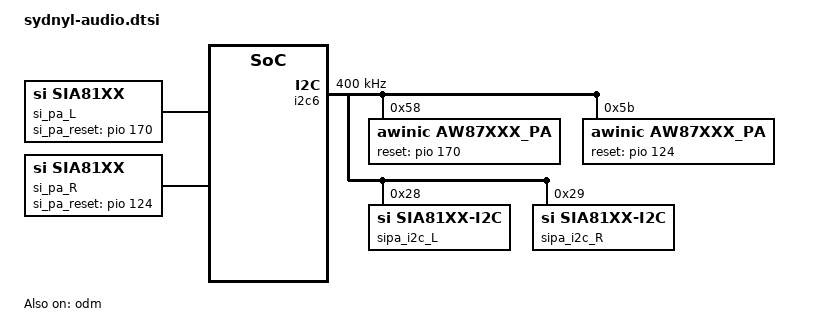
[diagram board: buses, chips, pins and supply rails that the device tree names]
/*
 * Copyright (c) 2019 MediaTek Inc.
 *
 * This program is free software; you can redistribute it and/or modify
 * it under the terms of the GNU General Public License version 2 as
 * published by the Free Software Foundation.
 *
 * This program is distributed in the hope that it will be useful,
 * but WITHOUT ANY WARRANTY; without even the implied warranty of
 * MERCHANTABILITY or FITNESS FOR A PARTICULAR PURPOSE.  See the
 * GNU General Public License for more details.
 */
&pio {
	sia81xx_gpio_L: sia81xx_gpio_L {
		pins_cmd_dat {
			pinmux = <PINMUX_GPIO170__FUNC_GPIO170>;
			slew-rate = <1>;
			bias-disable;
		};
	};
	sia81xx_gpio_R: sia81xx_gpio_R {
		pins_cmd_dat {
			pinmux = <PINMUX_GPIO124__FUNC_GPIO124>;
			slew-rate = <1>;
			bias-disable;
		};
	};
};

&odm {
	status = "okay";
	si_pa_L: si_pa_L{
		compatible = "si,sia81xx";
		si,si_pa_type = "sia8168";
		si,si_pa_reset = <&pio 170 0>;
		pinctrl-names = "si_pa_gpio";
		pinctrl-0 = <&sia81xx_gpio_L>;
		si,si_pa_disable_pin = <0>;
		channel_num = <0>;
		status = "okay";
	};
	si_pa_R: si_pa_R{
		compatible = "si,sia81xx";
		si,si_pa_type = "sia8168";
		si,si_pa_reset = <&pio 124 0>;
		pinctrl-names = "si_pa_gpio";
		pinctrl-0 = <&sia81xx_gpio_R>;
		si,si_pa_disable_pin = <0>;
		channel_num = <1>;
		status = "okay";
	};
};

&i2c6 {
	status = "ok";
	clock-frequency = <400000>;

	aw87xxx_pa@58 {/* RCV */
		compatible = "awinic,aw87xxx_pa";
		reg = <0x58>;
		reset-gpio = <&pio 170 0>;
		dev_index = < 0 >; /* First pa dev_index 0 */
		status = "okay";
	};
	aw87xxx_pa@5B { /* SPK */
		compatible = "awinic,aw87xxx_pa";
		reg = <0x5B>;
		reset-gpio = <&pio 124 0>;
		dev_index = < 1 >; /* Sec PA dev_index 1 */
		status = "okay";
	};

	sipa_i2c_L: sipa_i2c_L@28{ /* Rcv */
		compatible = "si,sia81xx-i2c";
		reg = <0x28>;
		si,sipa-dev = <&si_pa_L>;
	};
	sipa_i2c_R: sipa_i2c_R@29{ /* Spk */
		compatible = "si,sia81xx-i2c";
		reg = <0x29>;
		si,sipa-dev = <&si_pa_R>;
	};

	fsa4480: fsa4480@42 {
		compatible = "fsa,fsa4480-i2c";
		reg = <0x42>;
		status = "disabled";
	};
};

&sound {
	si,sia81xx-max-num = <2>;
        si,sia81xx-aux-devs = <&si_pa_L>,<&si_pa_R>;
	si,sia81xx-aux-devs-prefix = "SpkrLeft","SpkrRight";
};

&spk{
	status = "disabled";
};
